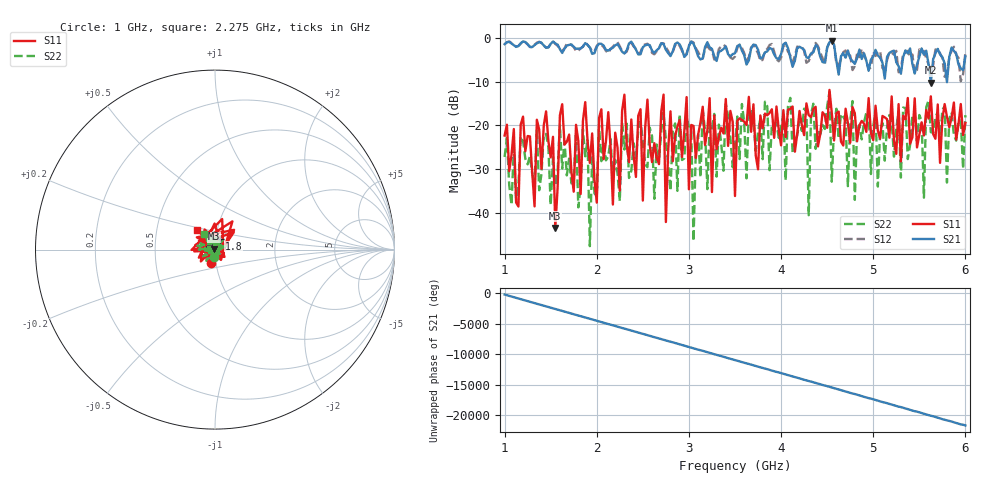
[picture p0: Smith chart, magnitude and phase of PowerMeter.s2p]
!Created with skrf (http://scikit-rf.org).
# Hz S DB R 50.0
!freq dBS11 angS11 dBS21 angS21 dBS12 angS12 dBS22 angS22
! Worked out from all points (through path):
!   201 points, 1 GHz to 6 GHz, reference 50 ohm
!   highest |S21| = -0.63 dB at 4.55 GHz (marker M1); lowest = -10.2 dB at 5.625 GHz (marker M2)
!   lowest |S11| = -43.4 dB at 1.55 GHz (marker M3), VSWR 1.01, Z = 49.5 + j0.494 ohm
!   |S11| at or under -10 dB: start of sweep to end of sweep
!   |S22| runs from -47.6 to -12.3 dB; largest |S21 - S12| = 0.2
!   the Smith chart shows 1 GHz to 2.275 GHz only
!   S11 on the Smith chart (normalised r, x): 1 GHz: 0.94, -0.14; 1.8 GHz: 1.04, +0.13; 2.275 GHz: 0.80, +0.18
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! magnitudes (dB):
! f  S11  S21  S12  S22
! 1 GHz  -22.3  -1.4  -1.4  -27.2
! 1.45 GHz  -16.8  -2.2  -2.2  -21.9
! 1.55 GHz  -43.4  -1.2  -1.3  -33.7
! 1.625 GHz  -15.1  -3.4  -2.9  -29.9
! 1.8 GHz  -23.5  -2.4  -2.9  -38.7
! 1.85 GHz  -18.9  -1.9  -2.0  -20.9
! 1.925 GHz  -28.6  -2.2  -2.1  -47.6
! 2.275 GHz  -16.7  -3.1  -3.0  -19.3
! 2.675 GHz  -28.8  -2.3  -2.3  -28.0
! 2.975 GHz  -13.5  -3.8  -3.5  -18.3
! 3.05 GHz  -20.1  -1.3  -1.0  -46.4
! 3.15 GHz  -15.7  -4.6  -4.7  -16.4
! 3.25 GHz  -35.2  -2.5  -2.8  -20.7
! 3.4 GHz  -13.9  -2.0  -1.9  -15.1
! 3.5 GHz  -36.1  -3.5  -4.2  -24.8
! 4.25 GHz  -22.2  -2.7  -2.9  -16.1
! 4.3 GHz  -17.6  -4.5  -5.3  -40.5
! 4.35 GHz  -16.2  -3.3  -3.0  -15.0
! 4.55 GHz  -17.1  -0.6  -0.6  -32.9
! 5.175 GHz  -22.8  -3.4  -3.3  -17.6
! 5.625 GHz  -13.3  -10.2  -7.5  -21.5
! 6 GHz  -19.4  -4.2  -3.3  -17.6
